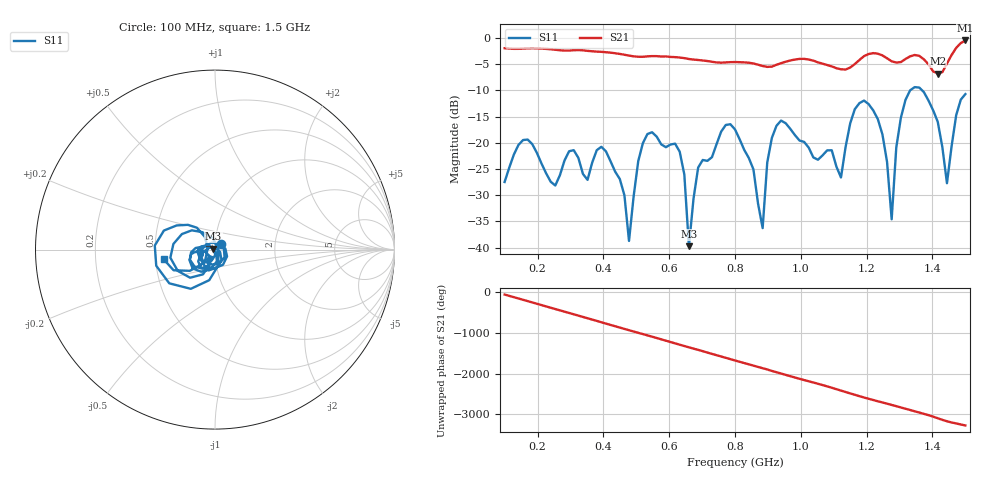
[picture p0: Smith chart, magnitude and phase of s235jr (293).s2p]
! NanoVNA-App
! Date: 2025-09-25 15:06:26
! Start: 100MHz Stop: 1,5GHz Points: 101
! S-Parameter data: F S11 S21 S12 S22
# Hz S RI R 50
!  Frequency  S11_Real  S11_Imag  S21_Real  S21_Imag  S12_Real  S12_Imag  S22_Real  S22_Imag
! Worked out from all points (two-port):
!   101 points, 100 MHz to 1.5 GHz, reference 50 ohm
!   highest |S21| = -0.48 dB at 1.5 GHz (marker M1); lowest = -6.8 dB at 1.416 GHz (marker M2)
!   |S21| within 3 dB of the highest: start of sweep to 489.2 MHz; 1.192 GHz to 1.252 GHz (59.83 MHz wide, 4.9 % of centre) (the widest 2 of 5)
!   lowest |S11| = -39.7 dB at 660 MHz (marker M3), VSWR 1.02, Z = 49.2 + j0.586 ohm
!   |S11| at or under -10 dB: start of sweep to 1.332 GHz; 1.368 GHz to end of sweep
!   S12 and S22 are empty: the file has one direction only
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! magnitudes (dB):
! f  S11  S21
! 100 MHz  -27.5  -2.0
! 170 MHz  -19.4  -2.0
! 338 MHz  -25.9  -2.4
! 408 MHz  -21.6  -2.7
! 478 MHz  -38.7  -3.4
! 520 MHz  -20.1  -3.6
! 576 MHz  -20.3  -3.5
! 632 MHz  -21.7  -3.7
! 660 MHz  -39.7  -4.0
! 688 MHz  -24.7  -4.2
! 800 MHz  -17.4  -4.6
! 884 MHz  -36.3  -5.4
! 926 MHz  -16.8  -5.1
! 1.038 GHz  -22.8  -4.3
! 1.122 GHz  -26.6  -6.0
! 1.206 GHz  -12.6  -3.1
! 1.248 GHz  -18.4  -3.3
! 1.276 GHz  -34.6  -4.5
! 1.318 GHz  -11.8  -4.0
! 1.416 GHz  -16.0  -6.8
! 1.444 GHz  -27.7  -4.9
! 1.5 GHz  -10.7  -0.5
